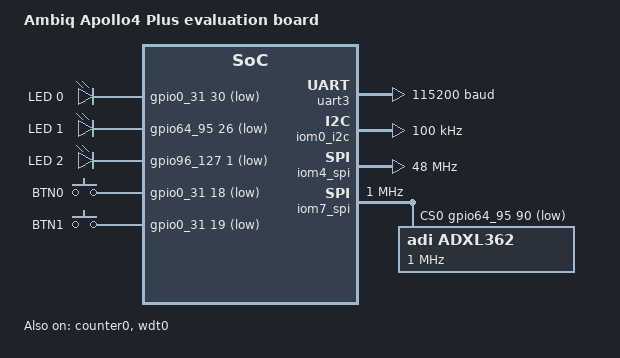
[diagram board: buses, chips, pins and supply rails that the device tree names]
/dts-v1/;
#include <ambiq/ambiq_apollo4p.dtsi>

#include "apollo4p_stmobo2-pinctrl.dtsi"
#include <zephyr/dt-bindings/flash_controller/ospi.h>

/ {
	model = "Ambiq Apollo4 Plus evaluation board";
	compatible = "ambiq,apollo4p_stmobo2";

	chosen {
		zephyr,itcm = &tcm;
		zephyr,sram = &sram0;
		zephyr,flash = &flash0;
		zephyr,console = &uart3;
		zephyr,shell-uart = &uart3;
		zephyr,uart-pipe = &uart3;
	};

	aliases {
		watchdog0 = &wdt0;
		led0 = &led0;
		led1 = &led1;
		led2 = &led2;
		sw0 = &button0;
		sw1 = &button1;
		accel0 = &adxl362;
	};

	leds {
		compatible = "gpio-leds";
		led0: led_0 {
			gpios = <&gpio0_31 30 (GPIO_PULL_UP | GPIO_ACTIVE_LOW)>;
			label = "LED 0";
		};
		led1: led_1 {
			gpios = <&gpio64_95 26 (GPIO_PULL_UP | GPIO_ACTIVE_LOW)>;
			label = "LED 1";
		};
		led2: led_2 {
			gpios = <&gpio96_127 1 (GPIO_PULL_UP | GPIO_ACTIVE_LOW)>;
			label = "LED 2";
		};
	};

	buttons {
		compatible = "gpio-keys";
		button0: button_0 {
			gpios = <&gpio0_31 18 (GPIO_PULL_UP | GPIO_ACTIVE_LOW)>;
			label = "BTN0";
		};
		button1: button_1 {
			gpios = <&gpio0_31 19 (GPIO_PULL_UP | GPIO_ACTIVE_LOW)>;
			label = "BTN1";
		};
	};
};

&uart3 {
	current-speed = <115200>;
	pinctrl-0 = <&uart3_default>;
	pinctrl-names = "default";
	status = "okay";
};

&counter0 {
	status = "okay";
};

&wdt0 {
	status = "okay";
};

&iom0_i2c {
	compatible = "ambiq,i2c";
	pinctrl-0 = <&i2c0_default>;
	pinctrl-names = "default";
	clock-frequency = <I2C_BITRATE_STANDARD>;
	status = "okay";
};

&iom4_spi {
	compatible = "ambiq,spi";
	pinctrl-0 = <&spi4_default>;
	pinctrl-names = "default";
	clock-frequency = <DT_FREQ_M(48)>;
	status = "okay";
};

&iom7_spi {
	compatible = "ambiq,spi";
	pinctrl-0 = <&spi7_default>;
	pinctrl-names = "default";
	cs-gpios = <&gpio64_95 90 GPIO_ACTIVE_LOW>;
	clock-frequency = <DT_FREQ_M(1)>;
	status = "okay";

	adxl362: adxl362@0 {
		compatible = "adi,adxl362";
		reg = <0>;
		spi-max-frequency = <DT_FREQ_M(1)>;
	};
};


&gpio0_31 {
	status = "okay";
};

&gpio32_63 {
	status = "okay";
};

&gpio64_95 {
	status = "okay";
};

&gpio96_127 {
	status = "okay";
};
